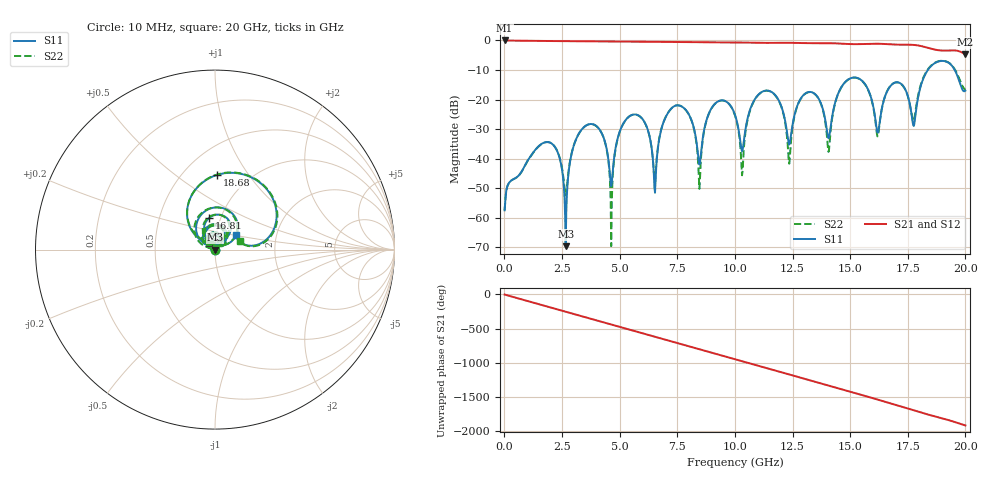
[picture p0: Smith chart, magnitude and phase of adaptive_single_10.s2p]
! HFSS adaptive-range study - 40 x 12 mm 5-layer stripline coupon
! with a signal via transition at mid-board
! Case: Single-frequency adaptive at 10 GHz (half the sweep maximum)
! Sweep: interpolating 10 MHz - 20 GHz, 25 MHz step, 4 cores
# GHz S MA R 50.000000
! Terminal data exported
! Port[1] = U1.PAD1.SIG
! Port[2] = U2.PAD1.SIG
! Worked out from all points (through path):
!   801 points, 10 MHz to 20 GHz, reference 50 ohm
!   highest |S21| = -0.01 dB at 10 MHz (marker M1); lowest = -4.8 dB at 20 GHz (marker M2)
!   group delay of S21, straight-line fit = 265 ps
!   lowest |S11| = -69.6 dB at 2.66 GHz (marker M3), VSWR 1.00, Z = 50 + j0.0292 ohm
!   |S11| at or under -10 dB: start of sweep to 18.37 GHz; 19.54 GHz to end of sweep
!   |S22| runs from -69.6 to -6.9 dB; largest |S21 - S12| = 6e-13
!   S11 on the Smith chart (normalised r, x): 10 MHz: 1.00, +0.00; 16.81 GHz: 0.88, +0.32; 18.68 GHz: 0.72, +0.72; 20 GHz: 1.25, +0.20
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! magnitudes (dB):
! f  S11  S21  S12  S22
! 10 MHz  -57.5  0.0  0.0  -57.5
! 1.835 GHz  -34.4  -0.2  -0.2  -34.4
! 2.66 GHz  -69.6  -0.2  -0.2  -52.5
! 3.36 GHz  -30.1  -0.3  -0.3  -30.1
! 4.21 GHz  -31.2  -0.3  -0.3  -31.2
! 4.635 GHz  -49.2  -0.4  -0.4  -69.6
! 5.36 GHz  -26.1  -0.4  -0.4  -26.1
! 6.685 GHz  -35.0  -0.5  -0.5  -34.7
! 8.46 GHz  -42.0  -0.6  -0.6  -50.2
! 10.01 GHz  -25.3  -0.7  -0.7  -25.5
! 10.31 GHz  -37.4  -0.7  -0.7  -45.6
! 11.59 GHz  -17.4  -0.8  -0.8  -17.5
! 12.36 GHz  -35.2  -0.8  -0.8  -41.7
! 13.36 GHz  -17.6  -0.9  -0.9  -17.6
! 14.06 GHz  -33.1  -0.9  -0.9  -37.7
! 14.86 GHz  -13.5  -1.2  -1.2  -13.6
! 16.18 GHz  -31.2  -1.1  -1.1  -32.5
! 16.68 GHz  -16.1  -1.3  -1.3  -16.0
! 16.81 GHz  -14.9  -1.4  -1.4  -14.9
! 17.76 GHz  -28.9  -1.5  -1.5  -27.2
! 18.68 GHz  -7.6  -3.1  -3.1  -7.5
! 20 GHz  -17.0  -4.8  -4.8  -16.7
